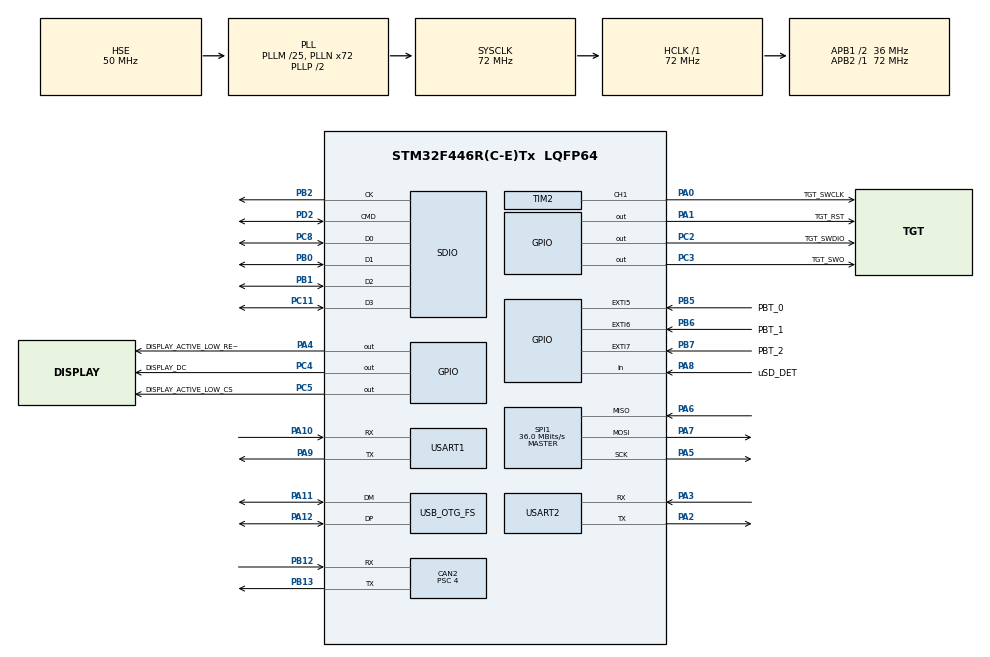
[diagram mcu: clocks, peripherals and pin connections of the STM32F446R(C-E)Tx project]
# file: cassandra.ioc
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CAN2.ABOM=ENABLE
CAN2.AWUM=ENABLE
CAN2.BS1=CAN_BS1_15TQ
CAN2.BS2=CAN_BS2_2TQ
CAN2.CalculateBaudRate=500000
CAN2.CalculateTimeBit=2000
CAN2.CalculateTimeQuantum=111.11111111111111
CAN2.NART=ENABLE
CAN2.Prescaler=4
Dma.Request0=USART1_TX
Dma.Request1=USART2_RX
Dma.Request2=USART2_TX
Dma.Request3=SPI1_TX
Dma.SPI1_TX.3.Direction=DMA_MEMORY_TO_PERIPH
Dma.SPI1_TX.3.FIFOMode=DMA_FIFOMODE_DISABLE
Dma.SPI1_TX.3.Instance=DMA2_Stream3
Dma.SPI1_TX.3.MemDataAlignment=DMA_MDATAALIGN_BYTE
Dma.SPI1_TX.3.MemInc=DMA_MINC_ENABLE
Dma.SPI1_TX.3.Mode=DMA_NORMAL
Dma.SPI1_TX.3.PeriphDataAlignment=DMA_PDATAALIGN_BYTE
Dma.SPI1_TX.3.PeriphInc=DMA_PINC_DISABLE
Dma.SPI1_TX.3.Priority=DMA_PRIORITY_VERY_HIGH
Dma.USART1_TX.0.Direction=DMA_MEMORY_TO_PERIPH
Dma.USART1_TX.0.FIFOMode=DMA_FIFOMODE_DISABLE
Dma.USART1_TX.0.Instance=DMA2_Stream7
Dma.USART1_TX.0.MemDataAlignment=DMA_MDATAALIGN_BYTE
Dma.USART1_TX.0.MemInc=DMA_MINC_ENABLE
Dma.USART1_TX.0.Mode=DMA_NORMAL
Dma.USART1_TX.0.PeriphDataAlignment=DMA_PDATAALIGN_BYTE
Dma.USART1_TX.0.PeriphInc=DMA_PINC_DISABLE
Dma.USART1_TX.0.Priority=DMA_PRIORITY_HIGH
Dma.USART2_RX.1.Direction=DMA_PERIPH_TO_MEMORY
Dma.USART2_RX.1.FIFOMode=DMA_FIFOMODE_DISABLE
Dma.USART2_RX.1.Instance=DMA1_Stream5
Dma.USART2_RX.1.MemDataAlignment=DMA_MDATAALIGN_BYTE
Dma.USART2_RX.1.MemInc=DMA_MINC_ENABLE
Dma.USART2_RX.1.Mode=DMA_NORMAL
Dma.USART2_RX.1.PeriphDataAlignment=DMA_PDATAALIGN_BYTE
Dma.USART2_RX.1.PeriphInc=DMA_PINC_DISABLE
Dma.USART2_RX.1.Priority=DMA_PRIORITY_LOW
Dma.USART2_TX.2.Direction=DMA_MEMORY_TO_PERIPH
Dma.USART2_TX.2.FIFOMode=DMA_FIFOMODE_DISABLE
Dma.USART2_TX.2.Instance=DMA1_Stream6
Dma.USART2_TX.2.MemDataAlignment=DMA_MDATAALIGN_BYTE
Dma.USART2_TX.2.MemInc=DMA_MINC_ENABLE
Dma.USART2_TX.2.Mode=DMA_NORMAL
Dma.USART2_TX.2.PeriphDataAlignment=DMA_PDATAALIGN_BYTE
Dma.USART2_TX.2.PeriphInc=DMA_PINC_DISABLE
Dma.USART2_TX.2.Priority=DMA_PRIORITY_LOW
FREERTOS.Tasks01=defaultTask,24,2000,StartDefaultTask,Default,NULL,Static,defaultTaskBuffer,defaultTaskControlBlock
FREERTOS.configTOTAL_HEAP_SIZE=35000
FREERTOS.configUSE_NEWLIB_REENTRANT=1
Mcu.Family=STM32F4
Mcu.Name=STM32F446R(C-E)Tx
Mcu.Package=LQFP64
NVIC.CAN2_RX0_IRQn=true\:5\:0\:false\:false\:true\:true\:true\:true\:true
NVIC.CAN2_RX1_IRQn=true\:5\:0\:false\:false\:true\:true\:true\:true\:true
NVIC.CAN2_SCE_IRQn=true\:5\:0\:false\:false\:true\:true\:true\:true\:true
NVIC.CAN2_TX_IRQn=true\:5\:0\:false\:false\:true\:true\:true\:true\:true
NVIC.DMA1_Stream5_IRQn=true\:5\:0\:false\:false\:true\:true\:false\:true\:true
NVIC.DMA1_Stream6_IRQn=true\:5\:0\:false\:false\:true\:true\:false\:true\:true
NVIC.DMA2_Stream3_IRQn=true\:5\:0\:false\:false\:true\:true\:false\:true\:true
NVIC.DMA2_Stream7_IRQn=true\:5\:0\:false\:false\:true\:true\:false\:true\:true
NVIC.EXTI9_5_IRQn=true\:5\:0\:false\:false\:true\:true\:true\:true\:true
NVIC.OTG_FS_IRQn=true\:5\:0\:false\:false\:true\:true\:true\:true\:true
NVIC.PriorityGroup=NVIC_PRIORITYGROUP_4
NVIC.SPI1_IRQn=true\:5\:0\:false\:false\:true\:true\:true\:true\:true
NVIC.TIM6_DAC_IRQn=true\:15\:0\:false\:false\:true\:false\:false\:true\:true
NVIC.TimeBase=TIM6_DAC_IRQn
NVIC.TimeBaseIP=TIM6
NVIC.USART1_IRQn=true\:5\:0\:false\:false\:true\:true\:true\:true\:true
NVIC.USART2_IRQn=true\:5\:0\:false\:false\:true\:true\:true\:true\:true
PA0-WKUP.GPIO_Label=TGT_SWCLK
PA0-WKUP.Signal=S_TIM2_CH1_ETR
PA1.GPIO_Label=TGT_RST
PA1.Signal=GPIO_Output
PA10.Mode=Asynchronous
PA10.Signal=USART1_RX
PA11.GPIO_PuPd=GPIO_PULLUP
PA11.Mode=Device_Only
PA11.Signal=USB_OTG_FS_DM
PA12.GPIO_PuPd=GPIO_PULLUP
PA12.Mode=Device_Only
PA12.Signal=USB_OTG_FS_DP
PA13.Mode=Serial_Wire
PA13.Signal=SYS_JTMS-SWDIO
PA14.Mode=Serial_Wire
PA14.Signal=SYS_JTCK-SWCLK
PA2.Mode=Asynchronous
PA2.Signal=USART2_TX
PA3.Mode=Asynchronous
PA3.Signal=USART2_RX
PA4.GPIO_Label=DISPLAY_ACTIVE_LOW_RESET
PA4.GPIO_PuPd=GPIO_PULLUP
PA4.Signal=GPIO_Output
PA5.Mode=Full_Duplex_Master
PA5.Signal=SPI1_SCK
PA6.Mode=Full_Duplex_Master
PA6.Signal=SPI1_MISO
PA7.Mode=Full_Duplex_Master
PA7.Signal=SPI1_MOSI
PA8.GPIO_Label=uSD_DET
PA8.Signal=GPIO_Input
PA9.Mode=Asynchronous
PA9.Signal=USART1_TX
PB0.GPIO_PuPd=GPIO_PULLUP
PB0.Mode=SD_4_bits_Wide_bus
PB0.Signal=SDIO_D1
PB1.GPIO_PuPd=GPIO_PULLUP
PB1.Mode=SD_4_bits_Wide_bus
PB1.Signal=SDIO_D2
PB12.GPIO_PuPd=GPIO_PULLUP
PB12.Mode=CAN_Activate
PB12.Signal=CAN2_RX
PB13.Mode=CAN_Activate
PB13.Signal=CAN2_TX
PB2.GPIO_PuPd=GPIO_NOPULL
PB2.Mode=SD_4_bits_Wide_bus
PB2.Signal=SDIO_CK
PB5.GPIO_Label=PBT_0
PB5.GPIO_ModeDefaultEXTI=GPIO_MODE_IT_FALLING
PB5.GPIO_PuPd=GPIO_PULLDOWN
PB5.Signal=GPXTI5
PB6.GPIO_Label=PBT_1
PB6.GPIO_ModeDefaultEXTI=GPIO_MODE_IT_FALLING
PB6.GPIO_PuPd=GPIO_PULLDOWN
PB6.Signal=GPXTI6
PB7.GPIO_Label=PBT_2
PB7.GPIO_PuPd=GPIO_PULLDOWN
PB7.Signal=GPXTI7
PC11.GPIO_PuPd=GPIO_PULLUP
PC11.Mode=SD_4_bits_Wide_bus
PC11.Signal=SDIO_D3
PC2.GPIO_Label=TGT_SWDIO
PC2.Signal=GPIO_Output
PC3.GPIO_Label=TGT_SWO
PC3.Signal=GPIO_Output
PC4.GPIO_Label=DISPLAY_DC
PC4.Signal=GPIO_Output
PC5.GPIO_Label=DISPLAY_ACTIVE_LOW_CS
PC5.GPIO_PuPd=GPIO_PULLDOWN
PC5.Signal=GPIO_Output
PC8.GPIO_PuPd=GPIO_PULLUP
PC8.Mode=SD_4_bits_Wide_bus
PC8.Signal=SDIO_D0
PD2.Mode=SD_4_bits_Wide_bus
PD2.Signal=SDIO_CMD
PH0-OSC_IN.Mode=HSE-External-Clock-Source
PH0-OSC_IN.Signal=RCC_OSC_IN
PH1-OSC_OUT.Mode=HSE-External-Clock-Source
PH1-OSC_OUT.Signal=RCC_OSC_OUT
ProjectManager.HeapSize=0x200
ProjectManager.StackSize=0x400
ProjectManager.TargetToolchain=STM32CubeIDE
RCC.AHBFreq_Value=72000000
RCC.APB1CLKDivider=RCC_HCLK_DIV2
RCC.APB1Freq_Value=36000000
RCC.APB1TimFreq_Value=72000000
RCC.APB2Freq_Value=72000000
RCC.APB2TimFreq_Value=72000000
RCC.CortexFreq_Value=72000000
RCC.HCLKFreq_Value=72000000
RCC.HSE_VALUE=50000000
RCC.PLLM=25
RCC.PLLN=72
RCC.PLLQ=3
RCC.PLLSourceVirtual=RCC_PLLSOURCE_HSE
RCC.SYSCLKFreq_VALUE=72000000
RCC.SYSCLKSource=RCC_SYSCLKSOURCE_PLLCLK
RCC.USBFreq_Value=48000000
RCC.VCOOutputFreq_Value=144000000
SDIO.ClockDiv=4
SH.S_TIM2_CH1_ETR.0=TIM2_CH1,PWM Generation1 CH1
SPI1.CalculateBaudRate=36.0 MBits/s
SPI1.DataSize=SPI_DATASIZE_8BIT
SPI1.Direction=SPI_DIRECTION_2LINES
SPI1.FirstBit=SPI_FIRSTBIT_MSB
SPI1.Mode=SPI_MODE_MASTER
SPI1.VirtualType=VM_MASTER
TIM2.Channel-PWM\ Generation1\ CH1=TIM_CHANNEL_1
USART1.VirtualMode=VM_ASYNC
USART2.VirtualMode=VM_ASYNC
USB_DEVICE.CLASS_NAME_FS=CDC
USB_DEVICE.MANUFACTURER_STRING-CDC_FS=ayham.xyz
USB_DEVICE.PRODUCT_STRING_CDC_FS=cassandra
USB_DEVICE.USBD_LPM_ENABLED-CDC_FS=0
USB_DEVICE.USBD_SELF_POWERED-CDC_FS=0
USB_DEVICE.VID-CDC_FS=67
USB_DEVICE.VirtualMode-CDC_FS=Cdc
USB_DEVICE.VirtualModeFS=Cdc_FS
USB_OTG_FS.VirtualMode=Device_Only
VP_FREERTOS_VS_CMSIS_V2.Mode=CMSIS_V2
VP_RTC_VS_RTC_Activate.Mode=RTC_Enabled
VP_SYS_VS_tim6.Mode=TIM6
VP_USB_DEVICE_VS_USB_DEVICE_CDC_FS.Mode=CDC_FS
board=custom

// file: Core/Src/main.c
/* USER CODE BEGIN Header */
/**
  ******************************************************************************
  * @file           : main.c
  * @brief          : Main program body
  ******************************************************************************
  * @attention
  *
  * Copyright (c) 2026 STMicroelectronics.
  * All rights reserved.
  *
  * This software is licensed under terms that can be found in the LICENSE file
  * in the root directory of this software component.
  * If no LICENSE file comes with this software, it is provided AS-IS.
  *
  ******************************************************************************
  */
/* USER CODE END Header */
#include "main.h"
#include "cmsis_os.h"
#include "can.h"
#include "dma.h"
#include "rtc.h"
#include "sdio.h"
#include "spi.h"
#include "tim.h"
#include "usart.h"
#include "usb_device.h"
#include "gpio.h"

void SystemClock_Config(void);
void MX_FREERTOS_Init(void);

/* USER CODE BEGIN 0 */

// --- GPIO control macros (adjust ports/pins) ---
#define OLED_CS_GPIO_Port   GPIOC
#define OLED_CS_Pin         GPIO_PIN_5

#define OLED_DC_GPIO_Port   GPIOC
#define OLED_DC_Pin         GPIO_PIN_4

static void OLED_Select(void)
{
    HAL_GPIO_WritePin(OLED_CS_GPIO_Port, OLED_CS_Pin, GPIO_PIN_RESET);
}

static void OLED_Unselect(void)
{
    HAL_GPIO_WritePin(OLED_CS_GPIO_Port, OLED_CS_Pin, GPIO_PIN_SET);
}

static void OLED_Command(uint8_t cmd)
{
    HAL_GPIO_WritePin(OLED_DC_GPIO_Port, OLED_DC_Pin, GPIO_PIN_RESET); // Command
    OLED_Select();
    HAL_SPI_Transmit(&hspi1, &cmd, 1, HAL_MAX_DELAY);
    OLED_Unselect();
}

static void OLED_Data(uint8_t data)
{
    HAL_GPIO_WritePin(OLED_DC_GPIO_Port, OLED_DC_Pin, GPIO_PIN_SET); // Data
    OLED_Select();
    HAL_SPI_Transmit(&hspi1, &data, 1, HAL_MAX_DELAY);
    OLED_Unselect();
}
void Init_OLED(void)
{
    OLED_Command(0xAE); // Display OFF

    OLED_Command(0xA8); // Set MUX ratio
    OLED_Data(0x7F);

    OLED_Command(0xA2); // Set Display offset
    OLED_Data(0x00);

    OLED_Command(0xA1); // Set display start line
    OLED_Data(0x00);

    OLED_Command(0xA4); // Normal display

    OLED_Command(0xA0); // Set Re-map, color depth
    OLED_Data(0x64);

    OLED_Command(0x81); // Contrast A (Red)
    OLED_Data(0x75);

    OLED_Command(0x82); // Contrast B (Green)
    OLED_Data(0x60);

    OLED_Command(0x83); // Contrast C (Blue)
    OLED_Data(0x6A);

    OLED_Command(0x87); // Master contrast
    OLED_Data(0x0F);

    OLED_Command(0xB9); // Linear grayscale table

    OLED_Command(0xB1); // Phase 1 & 2
    OLED_Data(0x22);

    OLED_Command(0xB3); // Display clock divide
    OLED_Data(0x40);

    OLED_Command(0xBB); // Pre-charge voltage
    OLED_Data(0x08);

    OLED_Command(0xBE); // VCOMH
    OLED_Data(0x2F);

    OLED_Command(0xAF); // Display ON
}
#define OLED_WIDTH   160
#define OLED_HEIGHT  128

#define OLED_WIDTH   160
#define OLED_HEIGHT  128

// Set Column Address (SSD1353 expects 0x15, min=0, max=159)
static void SSD1353_SetCols(void)
{
    OLED_Command(0x15);
    OLED_Data(0x00);           // start col
    OLED_Data(0x9F);           // end col = 159
}

// Set Row Address (SSD1353 expects 0x75, min=0, max=127)
static void SSD1353_SetRows(void)
{
    OLED_Command(0x75);
    OLED_Data(0x00);           // start row
    OLED_Data(0x7F);           // end row = 127
}

// Start Memory Write
static void SSD1353_StartRAM(void)
{
    OLED_Command(0x5C);        // Write Memory Start
}

static void SSD1353_FillScreen(uint16_t color)
{
    SSD1353_SetCols();
    SSD1353_SetRows();
    SSD1353_StartRAM();

    uint8_t hi = (color >> 8) & 0xFF;
    uint8_t lo = color & 0xFF;

    // Total pixels = 160 × 128
    for (uint32_t i = 0; i < 160U * 128U; i++)
    {
        OLED_Data(hi);
        OLED_Data(lo);
    }
}
void CycleColorsOLED(void)
{
    uint8_t r = 0, g = 0, b = 0;

    while (1)
    {
        // Convert 8‑bit RGB to 16‑bit RGB565
        uint16_t color = ((r & 0xF8) << 8) |
                         ((g & 0xFC) << 3) |
                         (b >> 3);

        SSD1353_FillScreen(color);

        // Change R, G, B over time
        r += 4; if (r == 0) g += 2;
        b += 6;

        HAL_Delay(50);
    }
}
uint8_t r = 0, g = 0, b = 0;

/* USER CODE END 0 */

int main(void)
{

  /* MCU Configuration--------------------------------------------------------*/

  /* Reset of all peripherals, Initializes the Flash interface and the Systick. */
  HAL_Init();

  /* Configure the system clock */
  SystemClock_Config();

  /* Initialize all configured peripherals */
  MX_GPIO_Init();
  MX_DMA_Init();
  MX_SDIO_SD_Init();
  MX_SPI1_Init();
  MX_USART1_UART_Init();
  MX_CAN2_Init();
  MX_USART2_UART_Init();
  MX_TIM2_Init();
  MX_RTC_Init();
  /* USER CODE BEGIN 2 */
  HAL_GPIO_WritePin(DISPLAY_ACTIVE_LOW_RESET_GPIO_Port, DISPLAY_ACTIVE_LOW_RESET_Pin, GPIO_PIN_SET);
  /* USER CODE END 2 */

  /* Init scheduler */
  osKernelInitialize();  /* Call init function for freertos objects (in cmsis_os2.c) */
  MX_FREERTOS_Init();

  /* Start scheduler */
  osKernelStart();

  /* We should never get here as control is now taken by the scheduler */

  /* Infinite loop */
  while (1)
  {

  }
}

void SystemClock_Config(void)
{
  RCC_OscInitTypeDef RCC_OscInitStruct = {0};
  RCC_ClkInitTypeDef RCC_ClkInitStruct = {0};

  /** Configure the main internal regulator output voltage
  */
  __HAL_RCC_PWR_CLK_ENABLE();
  __HAL_PWR_VOLTAGESCALING_CONFIG(PWR_REGULATOR_VOLTAGE_SCALE3);

  /** Initializes the RCC Oscillators according to the specified parameters
  * in the RCC_OscInitTypeDef structure.
  */
  RCC_OscInitStruct.OscillatorType = RCC_OSCILLATORTYPE_LSI|RCC_OSCILLATORTYPE_HSE;
  RCC_OscInitStruct.HSEState = RCC_HSE_BYPASS;
  RCC_OscInitStruct.LSEState = RCC_LSE_OFF;
  RCC_OscInitStruct.LSIState = RCC_LSI_ON;
  RCC_OscInitStruct.PLL.PLLState = RCC_PLL_ON;
  RCC_OscInitStruct.PLL.PLLSource = RCC_PLLSOURCE_HSE;
  RCC_OscInitStruct.PLL.PLLM = 25;
  RCC_OscInitStruct.PLL.PLLN = 72;
  RCC_OscInitStruct.PLL.PLLP = RCC_PLLP_DIV2;
  RCC_OscInitStruct.PLL.PLLQ = 3;
  RCC_OscInitStruct.PLL.PLLR = 2;
  if (HAL_RCC_OscConfig(&RCC_OscInitStruct) != HAL_OK)
  {
    Error_Handler();
  }

  /** Initializes the CPU, AHB and APB buses clocks
  */
  RCC_ClkInitStruct.ClockType = RCC_CLOCKTYPE_HCLK|RCC_CLOCKTYPE_SYSCLK
                              |RCC_CLOCKTYPE_PCLK1|RCC_CLOCKTYPE_PCLK2;
  RCC_ClkInitStruct.SYSCLKSource = RCC_SYSCLKSOURCE_PLLCLK;
  RCC_ClkInitStruct.AHBCLKDivider = RCC_SYSCLK_DIV1;
  RCC_ClkInitStruct.APB1CLKDivider = RCC_HCLK_DIV2;
  RCC_ClkInitStruct.APB2CLKDivider = RCC_HCLK_DIV1;

  if (HAL_RCC_ClockConfig(&RCC_ClkInitStruct, FLASH_LATENCY_2) != HAL_OK)
  {
    Error_Handler();
  }
}

void HAL_TIM_PeriodElapsedCallback(TIM_HandleTypeDef *htim)
{
  if (htim->Instance == TIM6)
  {
    HAL_IncTick();
  }
}

void Error_Handler(void)
{
  /* USER CODE BEGIN Error_Handler_Debug */
	return; // we don't actually call this, and when the HAL does (namely in SDIO) we don't want to crash the MCU
  /* User can add his own implementation to report the HAL error return state */
  __disable_irq();
  while (1)
  {
  }
  /* USER CODE END Error_Handler_Debug */
}

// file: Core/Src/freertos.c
/* USER CODE BEGIN Header */
/**
 ******************************************************************************
 * File Name          : freertos.c
 * Description        : Code for freertos applications
 ******************************************************************************
 * @attention
 *
 * Copyright (c) 2026 STMicroelectronics.
 * All rights reserved.
 *
 * This software is licensed under terms that can be found in the LICENSE file
 * in the root directory of this software component.
 * If no LICENSE file comes with this software, it is provided AS-IS.
 *
 ******************************************************************************
 */
/* USER CODE END Header */

#include "FreeRTOS.h"
#include "task.h"
#include "main.h"
#include "cmsis_os.h"

/* USER CODE BEGIN Includes */
#include "state.h"
/* USER CODE END Includes */

typedef StaticTask_t osStaticThreadDef_t;

/* Definitions for defaultTask */
osThreadId_t defaultTaskHandle;
uint32_t defaultTaskBuffer[ 2000 ];
osStaticThreadDef_t defaultTaskControlBlock;
const osThreadAttr_t defaultTask_attributes = {
  .name = "defaultTask",
  .cb_mem = &defaultTaskControlBlock,
  .cb_size = sizeof(defaultTaskControlBlock),
  .stack_mem = &defaultTaskBuffer[0],
  .stack_size = sizeof(defaultTaskBuffer),
  .priority = (osPriority_t) osPriorityNormal,
};

void StartDefaultTask(void *argument);

extern void MX_USB_DEVICE_Init(void);
void MX_FREERTOS_Init(void); /* (MISRA C 2004 rule 8.1) */

void MX_FREERTOS_Init(void) {

  /* Create the thread(s) */
  /* creation of defaultTask */
  defaultTaskHandle = osThreadNew(StartDefaultTask, NULL, &defaultTask_attributes);

}

void StartDefaultTask(void *argument)
{
  /* init code for USB_DEVICE */
  MX_USB_DEVICE_Init();
  /* USER CODE BEGIN StartDefaultTask */
    cassandra_pcb_init();
    /* Infinite loop */
    for (;;)
    {
        osDelay(1);
    }
  /* USER CODE END StartDefaultTask */
}
